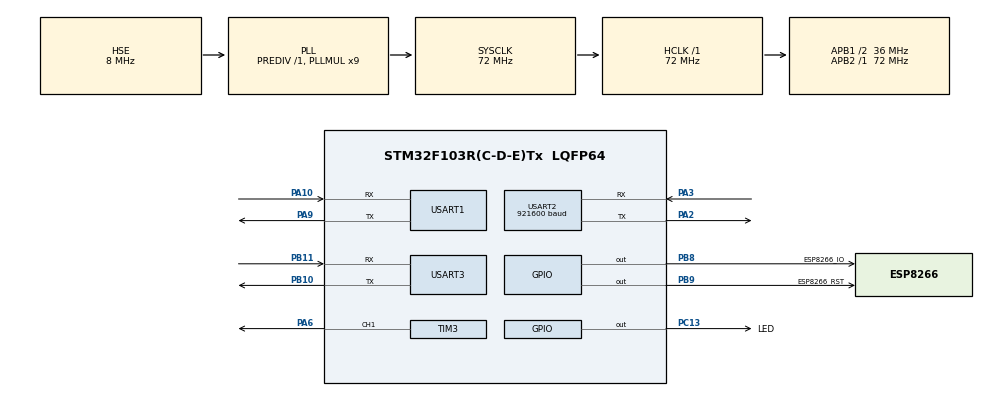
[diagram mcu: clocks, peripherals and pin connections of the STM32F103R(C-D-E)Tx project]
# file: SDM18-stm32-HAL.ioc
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Dma.Request0=USART3_RX
Dma.USART3_RX.0.Direction=DMA_PERIPH_TO_MEMORY
Dma.USART3_RX.0.Instance=DMA1_Channel3
Dma.USART3_RX.0.MemDataAlignment=DMA_MDATAALIGN_BYTE
Dma.USART3_RX.0.MemInc=DMA_MINC_ENABLE
Dma.USART3_RX.0.Mode=DMA_NORMAL
Dma.USART3_RX.0.PeriphDataAlignment=DMA_PDATAALIGN_BYTE
Dma.USART3_RX.0.PeriphInc=DMA_PINC_DISABLE
Dma.USART3_RX.0.Priority=DMA_PRIORITY_LOW
Mcu.Family=STM32F1
Mcu.Name=STM32F103R(C-D-E)Tx
Mcu.Package=LQFP64
NVIC.DMA1_Channel3_IRQn=true\:0\:0\:false\:false\:true\:false\:true\:true
NVIC.PriorityGroup=NVIC_PRIORITYGROUP_2
NVIC.USART2_IRQn=true\:1\:0\:true\:false\:true\:true\:true\:true
NVIC.USART3_IRQn=true\:1\:0\:true\:false\:true\:true\:true\:true
PA10.Mode=Asynchronous
PA10.Signal=USART1_RX
PA13.Mode=Serial_Wire
PA13.Signal=SYS_JTMS-SWDIO
PA14.Mode=Serial_Wire
PA14.Signal=SYS_JTCK-SWCLK
PA2.Mode=Asynchronous
PA2.Signal=USART2_TX
PA3.Mode=Asynchronous
PA3.Signal=USART2_RX
PA6.Signal=S_TIM3_CH1
PA9.Mode=Asynchronous
PA9.Signal=USART1_TX
PB10.Mode=Asynchronous
PB10.Signal=USART3_TX
PB11.Mode=Asynchronous
PB11.Signal=USART3_RX
PB8.GPIO_Label=ESP8266_IO
PB8.PinState=GPIO_PIN_SET
PB8.Signal=GPIO_Output
PB9.GPIO_Label=ESP8266_RST
PB9.PinState=GPIO_PIN_SET
PB9.Signal=GPIO_Output
PC13-TAMPER-RTC.GPIO_Label=LED
PC13-TAMPER-RTC.GPIO_Speed=GPIO_SPEED_FREQ_MEDIUM
PC13-TAMPER-RTC.PinState=GPIO_PIN_SET
PC13-TAMPER-RTC.Signal=GPIO_Output
PD0-OSC_IN.Mode=HSE-External-Oscillator
PD0-OSC_IN.Signal=RCC_OSC_IN
PD1-OSC_OUT.Mode=HSE-External-Oscillator
PD1-OSC_OUT.Signal=RCC_OSC_OUT
ProjectManager.HeapSize=0x200
ProjectManager.StackSize=0x400
ProjectManager.TargetToolchain=MDK-ARM V5.32
RCC.AHBFreq_Value=72000000
RCC.APB1CLKDivider=RCC_HCLK_DIV2
RCC.APB1Freq_Value=36000000
RCC.APB1TimFreq_Value=72000000
RCC.APB2Freq_Value=72000000
RCC.APB2TimFreq_Value=72000000
RCC.HCLKFreq_Value=72000000
RCC.PLLMUL=RCC_PLL_MUL9
RCC.PLLSourceVirtual=RCC_PLLSOURCE_HSE
RCC.SYSCLKFreq_VALUE=72000000
RCC.SYSCLKSource=RCC_SYSCLKSOURCE_PLLCLK
RCC.USBFreq_Value=72000000
SH.S_TIM3_CH1.0=TIM3_CH1,PWM Generation1 CH1
TIM3.AutoReloadPreload=TIM_AUTORELOAD_PRELOAD_ENABLE
TIM3.Channel-PWM\ Generation1\ CH1=TIM_CHANNEL_1
TIM3.Period=500
TIM3.Prescaler=71
TIM3.Pulse-PWM\ Generation1\ CH1=250
USART1.VirtualMode=VM_ASYNC
USART2.BaudRate=921600
USART2.VirtualMode=VM_ASYNC
USART3.VirtualMode=VM_ASYNC
board=custom

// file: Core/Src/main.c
/* USER CODE BEGIN Header */
/**
  ******************************************************************************
  * @file           : main.c
  * @brief          : 新型钻具机构控制系统 - 稳定生产版
  *                   - 激光雷达测距控制内管升降
  *                   - 内管到位400mm停止
  *                   - 到位后才开始卡芯/满芯判断
  *                   - 卡芯/满芯时反转上提到800mm
  *                   - WiFi无线数据传输（ESP8266）
  *                   - 支持远程参数修改
  *                   - 支持手动控制
  *                   - 自动重连机制
  ******************************************************************************
  */
/* USER CODE END Header */
#include "main.h"
#include "dma.h"
#include "tim.h"
#include "usart.h"
#include "gpio.h"

/* USER CODE BEGIN Includes */
#include <stdbool.h>
#include <stdio.h>
#include <string.h>
#include <stdlib.h>
/* USER CODE END Includes */

/* USER CODE BEGIN PD */
// 电机引脚定义
#define MOTOR_EN_PIN   GPIO_PIN_5      // 使能引脚
#define MOTOR_STP_PIN  GPIO_PIN_6      // 脉冲引脚
#define MOTOR_DIR_PIN  GPIO_PIN_7      // 方向引脚
#define MOTOR_PORT     GPIOA

// 钻具工作模式
#define MODE_IDLE       0    // 空闲
#define MODE_DOWN       1    // 正转下钻
#define MODE_UP         2    // 反转上提
#define MODE_PAUSE      3    // 暂停

// 默认阈值定义（单位：mm）
#define DEFAULT_THRESHOLD_GROUND    800     // 默认地面阈值
#define DEFAULT_THRESHOLD_IN_PLACE  400     // 默认内管到位阈值
#define DEFAULT_THRESHOLD_FULL      100     // 满芯阈值
#define DEFAULT_THRESHOLD_STUCK     2       // 卡芯差值阈值

// 数组大小定义
#define DIST_ARRAY_SIZE     10      // 10个相邻测距的数组

// 时间定义（单位：ms）
#define MEASURE_INTERVAL        100     // 100ms测一次距离
#define PAUSE_TIME_IN_PLACE     5000    // 内管到位暂停时间（5秒）
#define PAUSE_TIME_CORE         3000    // 卡芯/满芯暂停时间（3秒）
#define DEFAULT_MOTOR_SPEED     100    // 默认电机速度
#define WIFI_RECONNECT_INTERVAL 30000   // WiFi重连间隔（30秒）

// ==================== WiFi配置（请修改为你的网络） ====================
#define WIFI_UART_HANDLE      &huart3      // USART3连接WiFi
#define WIFI_RST_PIN          GPIO_PIN_9   // WiFi复位引脚（PB9）
#define WIFI_RST_PORT         GPIOB
#define WIFI_IO_PIN           GPIO_PIN_8   // IO引脚（PB8），悬空

// WiFi连接参数（请修改成你自己的）
#include "wifi_config.h"
/* USER CODE END PD */

/* USER CODE BEGIN PV */
// 电机控制变量
__IO int32_t pulse_count = 0;
__IO uint8_t motor_status = MODE_IDLE;

// 可修改的参数
__IO uint16_t threshold_ground = DEFAULT_THRESHOLD_GROUND;
__IO uint16_t threshold_in_place = DEFAULT_THRESHOLD_IN_PLACE;
__IO uint16_t threshold_full = DEFAULT_THRESHOLD_FULL;
__IO uint16_t threshold_stuck = DEFAULT_THRESHOLD_STUCK;
__IO uint16_t motor_speed = DEFAULT_MOTOR_SPEED;

// 手动控制标志
__IO uint8_t manual_control = 0;
__IO uint8_t manual_cmd = 0;

// 钻具控制变量
__IO uint8_t drill_mode = MODE_IDLE;
__IO uint32_t pause_start_time = 0;
__IO uint8_t is_reversing = 0;
__IO uint8_t is_in_place = 0;

// 测距数组
__IO uint16_t dist_array[DIST_ARRAY_SIZE] = {0};
__IO uint8_t dist_array_index = 0;
__IO uint8_t dist_array_full = 0;

// 传感器距离
extern uint16_t gSDM18_Distance;

// WiFi状态
__IO uint8_t wifi_connected = 0;
__IO uint32_t last_wifi_check = 0;

// 指令接收缓冲区
uint8_t cmd_buffer[256];
uint8_t cmd_index = 0;
uint8_t rx_byte = 0;
volatile uint8_t cmd_ready = 0;
/* USER CODE END PV */

void SystemClock_Config(void);
/* USER CODE BEGIN PFP */
// 电机控制
void Motor_GPIO_Init(void);
void Motor_Set_Direction(uint8_t dir);
void Motor_Generate_Pulse(void);
void Drill_Control(uint16_t dist);
void Update_Distance_Array(uint16_t dist);
uint8_t Check_Stuck(void);
uint8_t Check_Full(void);
void Print_Status(uint16_t dist);

// WiFi功能
void WiFi_GPIO_Init(void);
void WiFi_Reset(void);
uint8_t WiFi_SendAT(const char* cmd, const char* expected, uint32_t timeout);
void WiFi_Connect(void);
void WiFi_SendData(uint8_t* data, uint16_t len);
void WiFi_SendStatus(uint16_t dist, uint8_t mode, uint8_t in_place, uint8_t reversing,
                      uint16_t avg, uint16_t diff);
void WiFi_CheckAndReconnect(void);
void Parse_Command(char* cmd);
/* USER CODE END PFP */

int main(void)
{
  HAL_Init();
  SystemClock_Config();
  MX_GPIO_Init();
  MX_DMA_Init();
  MX_USART1_UART_Init();
  MX_USART2_UART_Init();
  MX_TIM3_Init();
  MX_USART3_UART_Init();

  /* USER CODE BEGIN 2 */
  // 系统初始化
  BSP_init();
  Motor_GPIO_Init();
  WiFi_GPIO_Init();

  // 清空距离数组
  memset((void*)dist_array, 0, sizeof(dist_array));

  // 打印启动信息
  printf("\r\n\r\n");
  printf("========================================\r\n");
  printf("    新型钻具机构控制系统 - 稳定版      \r\n");
  printf("========================================\r\n");
  printf("系统启动中...\r\n");

  // 尝试连接WiFi
  WiFi_Reset();
  HAL_Delay(1000);
  WiFi_Connect();
  last_wifi_check = HAL_GetTick();

  if(wifi_connected)
  {
      printf("✓ WiFi连接成功！\r\n");
      printf("  服务器: %s:%s\r\n", SERVER_IP, SERVER_PORT);
      // 启动指令接收
      HAL_UART_Receive_IT(&huart3, &rx_byte, 1);
  }
  else
  {
      printf("✗ WiFi连接失败，系统将独立运行\r\n");
      printf("  如需WiFi请检查网络设置后按复位键\r\n");
  }

  // 显示当前配置
  printf("\r\n当前配置：\r\n");
  printf("  内管到位阈值: %dmm\r\n", threshold_in_place);
  printf("  地面阈值: %dmm\r\n", threshold_ground);
  printf("  满芯阈值: %dmm\r\n", threshold_full);
  printf("  卡芯差值: %dmm\r\n", threshold_stuck);
  printf("  电机速度: %d\r\n", motor_speed);
  printf("========================================\r\n\r\n");
  /* USER CODE END 2 */

  /* Infinite loop */
  /* USER CODE BEGIN WHILE */
  while (1)
  {
    BSP_Loop();  // 处理传感器数据
    Motor_Generate_Pulse();

    // 处理接收到的指令
    if(cmd_ready)
    {
        cmd_ready = 0;
        Parse_Command((char*)cmd_buffer);
    }

    // WiFi自动重连（每30秒检查一次）
    WiFi_CheckAndReconnect();

    // 每100ms执行控制逻辑
    static uint32_t last_control = 0;
    if(HAL_GetTick() - last_control >= MEASURE_INTERVAL)
    {
        last_control = HAL_GetTick();
        uint16_t current_dist = gSDM18_Distance;
        Update_Distance_Array(current_dist);
        Drill_Control(current_dist);
        Print_Status(current_dist);
    }

    /* USER CODE END WHILE */
  }
}

void SystemClock_Config(void)
{
  RCC_OscInitTypeDef RCC_OscInitStruct = {0};
  RCC_ClkInitTypeDef RCC_ClkInitStruct = {0};

  RCC_OscInitStruct.OscillatorType = RCC_OSCILLATORTYPE_HSE;
  RCC_OscInitStruct.HSEState = RCC_HSE_ON;
  RCC_OscInitStruct.HSEPredivValue = RCC_HSE_PREDIV_DIV1;
  RCC_OscInitStruct.HSIState = RCC_HSI_ON;
  RCC_OscInitStruct.PLL.PLLState = RCC_PLL_ON;
  RCC_OscInitStruct.PLL.PLLSource = RCC_PLLSOURCE_HSE;
  RCC_OscInitStruct.PLL.PLLMUL = RCC_PLL_MUL9;
  if (HAL_RCC_OscConfig(&RCC_OscInitStruct) != HAL_OK)
  {
    Error_Handler();
  }

  RCC_ClkInitStruct.ClockType = RCC_CLOCKTYPE_HCLK|RCC_CLOCKTYPE_SYSCLK
                              |RCC_CLOCKTYPE_PCLK1|RCC_CLOCKTYPE_PCLK2;
  RCC_ClkInitStruct.SYSCLKSource = RCC_SYSCLKSOURCE_PLLCLK;
  RCC_ClkInitStruct.AHBCLKDivider = RCC_SYSCLK_DIV1;
  RCC_ClkInitStruct.APB1CLKDivider = RCC_HCLK_DIV2;
  RCC_ClkInitStruct.APB2CLKDivider = RCC_HCLK_DIV1;

  if (HAL_RCC_ClockConfig(&RCC_ClkInitStruct, FLASH_LATENCY_2) != HAL_OK)
  {
    Error_Handler();
  }
}

/* USER CODE BEGIN 4 */

// ==================== 电机控制函数 ====================

void Motor_GPIO_Init(void)
{
    __HAL_RCC_GPIOA_CLK_ENABLE();

    GPIO_InitTypeDef GPIO_InitStruct = {0};
    GPIO_InitStruct.Pin = MOTOR_EN_PIN | MOTOR_STP_PIN | MOTOR_DIR_PIN;
    GPIO_InitStruct.Mode = GPIO_MODE_OUTPUT_PP;
    GPIO_InitStruct.Pull = GPIO_NOPULL;
    GPIO_InitStruct.Speed = GPIO_SPEED_FREQ_LOW;
    HAL_GPIO_Init(MOTOR_PORT, &GPIO_InitStruct);

    HAL_GPIO_WritePin(MOTOR_PORT, MOTOR_EN_PIN, GPIO_PIN_SET);
    HAL_GPIO_WritePin(MOTOR_PORT, MOTOR_STP_PIN, GPIO_PIN_RESET);
    HAL_GPIO_WritePin(MOTOR_PORT, MOTOR_DIR_PIN, GPIO_PIN_RESET);
}

void Motor_Set_Direction(uint8_t dir)
{
    if(dir == MODE_DOWN)
        HAL_GPIO_WritePin(MOTOR_PORT, MOTOR_DIR_PIN, GPIO_PIN_SET);
    else if(dir == MODE_UP)
        HAL_GPIO_WritePin(MOTOR_PORT, MOTOR_DIR_PIN, GPIO_PIN_RESET);
}

void Motor_Generate_Pulse(void)
{
    if(motor_status != MODE_DOWN && motor_status != MODE_UP)
        return;

    for(volatile int i = 0; i < motor_speed; i++)
        __NOP();

    HAL_GPIO_TogglePin(MOTOR_PORT, MOTOR_STP_PIN);
    pulse_count++;
}

// ==================== 距离检测函数 ====================

void Update_Distance_Array(uint16_t dist)
{
    dist_array[dist_array_index] = dist;
    dist_array_index++;
    if(dist_array_index >= DIST_ARRAY_SIZE)
    {
        dist_array_index = 0;
        dist_array_full = 1;
    }
}

uint8_t Check_Stuck(void)
{
    if(!dist_array_full) return 0;

    uint16_t max_dist = 0, min_dist = 65535;
    for(int i = 0; i < DIST_ARRAY_SIZE; i++)
    {
        if(dist_array[i] > max_dist) max_dist = dist_array[i];
        if(dist_array[i] < min_dist) min_dist = dist_array[i];
    }

    return ((max_dist - min_dist) < threshold_stuck) ? 1 : 0;
}

uint8_t Check_Full(void)
{
    if(!dist_array_full) return 0;

    for(int i = 0; i < DIST_ARRAY_SIZE; i++)
    {
        if(dist_array[i] >= threshold_full) return 0;
    }
    return 1;
}

// ==================== 钻具控制主逻辑 ====================

void Drill_Control(uint16_t dist)
{
    if(dist == 0) return;

    // 手动模式
    if(manual_control == 1)
    {
        if(manual_cmd == 1 && motor_status != MODE_DOWN)
        {
            motor_status = MODE_DOWN;
            drill_mode = MODE_DOWN;
            is_reversing = 0;
            is_in_place = 0;
            Motor_Set_Direction(MODE_DOWN);
            printf("手动: 下钻\r\n");
            WiFi_SendData((uint8_t*)"!!! MANUAL: DRILLING START !!!\r\n", 35);
        }
        else if(manual_cmd == 2 && motor_status != MODE_UP)
        {
            motor_status = MODE_UP;
            drill_mode = MODE_UP;
            is_reversing = 1;
            is_in_place = 0;
            Motor_Set_Direction(MODE_UP);
            printf("手动: 上提\r\n");
            WiFi_SendData((uint8_t*)"!!! MANUAL: REVERSING START !!!\r\n", 35);
        }
        else if(manual_cmd == 3 && motor_status != MODE_IDLE)
        {
            motor_status = MODE_IDLE;
            drill_mode = MODE_IDLE;
            is_reversing = 0;
            is_in_place = 0;
            HAL_GPIO_WritePin(MOTOR_PORT, MOTOR_STP_PIN, GPIO_PIN_RESET);
            printf("手动: 急停\r\n");
            WiFi_SendData((uint8_t*)"!!! EMERGENCY STOP !!!\r\n", 25);
        }
        return;
    }

    // 自动模式
    if(drill_mode == MODE_PAUSE)
    {
        if(HAL_GetTick() - pause_start_time >= PAUSE_TIME_CORE)
        {
            drill_mode = MODE_UP;
            motor_status = MODE_UP;
            is_reversing = 1;
            is_in_place = 0;
            Motor_Set_Direction(MODE_UP);
            printf("⬆️ 暂停结束，反转上提（目标%dmm）\r\n", threshold_ground);
            WiFi_SendData((uint8_t*)"!!! ACTION: REVERSING START !!!\r\n", 35);
        }
        return;
    }

    if(dist >= threshold_ground)
    {
        if(drill_mode != MODE_IDLE || is_reversing != 0)
        {
            drill_mode = MODE_IDLE;
            motor_status = MODE_IDLE;
            is_reversing = 0;
            is_in_place = 0;
            printf("🏁 到达地面阈值 %dmm，停止\r\n", threshold_ground);
            WiFi_SendData((uint8_t*)"!!! STATUS: AT GROUND !!!\r\n", 29);
        }
        return;
    }

    if(is_reversing == 1)
    {
        if(drill_mode != MODE_UP)
        {
            drill_mode = MODE_UP;
            motor_status = MODE_UP;
            Motor_Set_Direction(MODE_UP);
        }
        return;
    }

    if(dist <= threshold_in_place)
    {
        if(drill_mode != MODE_IDLE)
        {
            drill_mode = MODE_IDLE;
            motor_status = MODE_IDLE;
            printf("⏹️ 内管到位 %dmm，停止\r\n", dist);
            char alert[64];
            sprintf(alert, "*** STATUS: IN_PLACE (dist=%dmm) ***\r\n", dist);
            WiFi_SendData((uint8_t*)alert, strlen(alert));
        }

        if(is_in_place == 0)
        {
            is_in_place = 1;
            printf("🔍 开始卡芯/满芯监测...\r\n");
            uint32_t pause_start = HAL_GetTick();
            while(HAL_GetTick() - pause_start < PAUSE_TIME_IN_PLACE)
                HAL_Delay(10);
        }

        if(is_in_place == 1)
        {
            if(Check_Full())
            {
                drill_mode = MODE_PAUSE;
                motor_status = MODE_IDLE;
                pause_start_time = HAL_GetTick();
                printf("⏸️ 满芯！暂停3秒后反转上提\r\n");
                WiFi_SendData((uint8_t*)"!!! ALERT: CORE FULL !!!\r\n", 28);
                return;
            }
            if(Check_Stuck())
            {
                drill_mode = MODE_PAUSE;
                motor_status = MODE_IDLE;
                pause_start_time = HAL_GetTick();
                printf("⚠️ 卡芯！暂停3秒后反转上提\r\n");
                WiFi_SendData((uint8_t*)"!!! ALERT: CORE STUCK !!!\r\n", 28);
                return;
            }
        }
        return;
    }

    if(dist > threshold_in_place && drill_mode != MODE_DOWN)
    {
        drill_mode = MODE_DOWN;
        motor_status = MODE_DOWN;
        is_in_place = 0;
        Motor_Set_Direction(MODE_DOWN);
        printf("⬇️ 距离=%dmm > %dmm，正转下钻\r\n", dist, threshold_in_place);
    }
}

// ==================== 指令解析 ====================

void Parse_Command(char* cmd)
{
    if(strlen(cmd) > 100) return;
    printf("收到指令: %s\r\n", cmd);

    if(strstr(cmd, "SET_IN_PLACE|") != NULL)
    {
        uint16_t val = atoi(cmd + 13);
        if(val >= 100 && val <= 1000)
        {
            threshold_in_place = val;
            printf("内管到位阈值已修改为: %dmm\r\n", threshold_in_place);
            WiFi_SendData((uint8_t*)"OK|IN_PLACE_CHANGED\r\n", 23);
        }
        else WiFi_SendData((uint8_t*)"ERROR|INVALID_VALUE\r\n", 22);
        return;
    }

    if(strstr(cmd, "SET_GROUND|") != NULL)
    {
        uint16_t val = atoi(cmd + 11);
        if(val >= 500 && val <= 1500)
        {
            threshold_ground = val;
            printf("地面阈值已修改为: %dmm\r\n", threshold_ground);
            WiFi_SendData((uint8_t*)"OK|GROUND_CHANGED\r\n", 22);
        }
        else WiFi_SendData((uint8_t*)"ERROR|INVALID_VALUE\r\n", 22);
        return;
    }

    if(strstr(cmd, "SET_FULL|") != NULL)
    {
        uint16_t val = atoi(cmd + 9);
        if(val >= 20 && val <= 200)
        {
            threshold_full = val;
            printf("满芯阈值已修改为: %dmm\r\n", threshold_full);
            WiFi_SendData((uint8_t*)"OK|FULL_CHANGED\r\n", 20);
        }
        else WiFi_SendData((uint8_t*)"ERROR|INVALID_VALUE\r\n", 22);
        return;
    }

    if(strstr(cmd, "SET_STUCK|") != NULL)
    {
        uint16_t val = atoi(cmd + 10);
        if(val >= 1 && val <= 50)
        {
            threshold_stuck = val;
            printf("卡芯差值阈值已修改为: %dmm\r\n", threshold_stuck);
            WiFi_SendData((uint8_t*)"OK|STUCK_CHANGED\r\n", 21);
        }
        else WiFi_SendData((uint8_t*)"ERROR|INVALID_VALUE\r\n", 22);
        return;
    }

    if(strstr(cmd, "SET_SPEED|") != NULL)
    {
        uint16_t val = atoi(cmd + 10);
        if(val >= 100 && val <= 5000)
        {
            motor_speed = val;
            printf("电机速度已修改: 延时=%d\r\n", motor_speed);
            WiFi_SendData((uint8_t*)"OK|SPEED_CHANGED\r\n", 21);
        }
        else WiFi_SendData((uint8_t*)"ERROR|INVALID_VALUE\r\n", 22);
        return;
    }

    if(strstr(cmd, "GET_PARAMS") != NULL)
    {
        char buffer[128];
        sprintf(buffer, "PARAMS|IN_PLACE=%d|GROUND=%d|FULL=%d|STUCK=%d|SPEED=%d\r\n",
                threshold_in_place, threshold_ground, threshold_full, threshold_stuck, motor_speed);
        WiFi_SendData((uint8_t*)buffer, strlen(buffer));
        return;
    }

    if(strstr(cmd, "CMD_DOWN") != NULL)
    {
        manual_control = 1;
        manual_cmd = 1;
        printf("手动下钻模式\r\n");
        WiFi_SendData((uint8_t*)"OK|MANUAL_DOWN\r\n", 18);
        return;
    }

    if(strstr(cmd, "CMD_UP") != NULL)
    {
        manual_control = 1;
        manual_cmd = 2;
        printf("手动上提模式\r\n");
        WiFi_SendData((uint8_t*)"OK|MANUAL_UP\r\n", 16);
        return;
    }

    if(strstr(cmd, "CMD_STOP") != NULL)
    {
        manual_control = 1;
        manual_cmd = 3;
        printf("急停！\r\n");
        WiFi_SendData((uint8_t*)"OK|EMERGENCY_STOP\r\n", 21);
        return;
    }

    if(strstr(cmd, "CMD_RESET") != NULL)
    {
        manual_control = 0;
        manual_cmd = 0;
        motor_status = MODE_IDLE;
        drill_mode = MODE_IDLE;
        is_reversing = 0;
        is_in_place = 0;
        HAL_GPIO_WritePin(MOTOR_PORT, MOTOR_STP_PIN, GPIO_PIN_RESET);
        printf("复位到自动模式\r\n");
        WiFi_SendData((uint8_t*)"OK|RESET_TO_AUTO\r\n", 20);
        return;
    }

    WiFi_SendData((uint8_t*)"ERROR|UNKNOWN_CMD\r\n", 20);
}

// ==================== WiFi模块函数 ====================

void WiFi_GPIO_Init(void)
{
    GPIO_InitTypeDef GPIO_InitStruct = {0};
    __HAL_RCC_GPIOB_CLK_ENABLE();

    GPIO_InitStruct.Pin = WIFI_RST_PIN;
    GPIO_InitStruct.Mode = GPIO_MODE_OUTPUT_PP;
    GPIO_InitStruct.Pull = GPIO_NOPULL;
    HAL_GPIO_Init(WIFI_RST_PORT, &GPIO_InitStruct);

    GPIO_InitStruct.Pin = WIFI_IO_PIN;
    GPIO_InitStruct.Mode = GPIO_MODE_INPUT;
    HAL_GPIO_Init(WIFI_RST_PORT, &GPIO_InitStruct);
}

void WiFi_Reset(void)
{
    HAL_GPIO_WritePin(WIFI_RST_PORT, WIFI_RST_PIN, GPIO_PIN_RESET);
    HAL_Delay(100);
    HAL_GPIO_WritePin(WIFI_RST_PORT, WIFI_RST_PIN, GPIO_PIN_SET);
    HAL_Delay(2000);
}

uint8_t WiFi_SendAT(const char* cmd, const char* expected, uint32_t timeout)
{
    uint8_t buffer[128];
    uint32_t start = HAL_GetTick();
    uint16_t index = 0;

    HAL_UART_Transmit(WIFI_UART_HANDLE, (uint8_t*)cmd, strlen(cmd), 100);
    HAL_UART_Transmit(WIFI_UART_HANDLE, (uint8_t*)"\r\n", 2, 100);

    while(HAL_GetTick() - start < timeout)
    {
        if(HAL_UART_Receive(WIFI_UART_HANDLE, &buffer[index], 1, 50) == HAL_OK)
        {
            if(index < sizeof(buffer)-1)
            {
                index++;
                buffer[index] = 0;
                if(strstr((char*)buffer, expected) != NULL)
                    return 1;
            }
        }
    }
    return 0;
}

void WiFi_Connect(void)
{
    char cmd[128];

    printf("WiFi连接中...\r\n");

    // 退出透传模式
    HAL_UART_Transmit(WIFI_UART_HANDLE, (uint8_t*)"+++", 3, 100);
    HAL_Delay(500);

    // 测试AT
    if(!WiFi_SendAT("AT", "OK", 2000))
    {
        printf("WiFi模块无响应\r\n");
        wifi_connected = 0;
        return;
    }

    // 设置STA模式
    WiFi_SendAT("AT+CWMODE=1", "OK", 2000);

    // 连接WiFi
    sprintf(cmd, "AT+CWJAP=\"%s\",\"%s\"", WIFI_SSID, WIFI_PASSWORD);
    if(!WiFi_SendAT(cmd, "OK", 10000))
    {
        printf("WiFi连接失败\r\n");
        wifi_connected = 0;
        return;
    }
    printf("WiFi已连接\r\n");
    HAL_Delay(2000);

    // 连接TCP服务器
    sprintf(cmd, "AT+CIPSTART=\"TCP\",\"%s\",%s", SERVER_IP, SERVER_PORT);
    if(!WiFi_SendAT(cmd, "CONNECT", 5000))
    {
        printf("TCP连接失败\r\n");
        wifi_connected = 0;
        return;
    }
    printf("TCP已连接\r\n");
    HAL_Delay(500);

    // 开启透传
    WiFi_SendAT("AT+CIPMODE=1", "OK", 2000);
    WiFi_SendAT("AT+CIPSEND", ">", 2000);

    wifi_connected = 1;
    printf("✓ WiFi透传模式已开启\r\n");
}

void WiFi_CheckAndReconnect(void)
{
    if(HAL_GetTick() - last_wifi_check >= WIFI_RECONNECT_INTERVAL)
    {
        last_wifi_check = HAL_GetTick();

        if(!wifi_connected)
        {
            printf("WiFi断开，尝试重连...\r\n");
            WiFi_Connect();
            if(wifi_connected)
                HAL_UART_Receive_IT(&huart3, &rx_byte, 1);
        }
    }
}

void WiFi_SendData(uint8_t* data, uint16_t len)
{
    if(wifi_connected)
        HAL_UART_Transmit(WIFI_UART_HANDLE, data, len, 100);
}

void WiFi_SendStatus(uint16_t dist, uint8_t mode, uint8_t in_place, uint8_t reversing,
                      uint16_t avg, uint16_t diff)
{
    char buffer[256];
    char *mode_str = "", *status_str = "";

    switch(mode)
    {
        case MODE_IDLE:   mode_str = "IDLE"; break;
        case MODE_DOWN:   mode_str = "DOWN"; break;
        case MODE_UP:     mode_str = "UP"; break;
        case MODE_PAUSE:  mode_str = "PAUSE"; break;
        default:          mode_str = "UNKNOWN"; break;
    }

    if(in_place) status_str = "IN_PLACE";
    else if(reversing) status_str = "REVERSING";
    else if(mode == MODE_DOWN) status_str = "DRILLING";
    else if(mode == MODE_IDLE) status_str = "WAITING";
    else if(mode == MODE_PAUSE) status_str = "PAUSING";
    else status_str = "NORMAL";

    sprintf(buffer, "DATA|%d|%d|%s|%s|%d|%d|%d|%d|%d|%d|%d\r\n",
            (int)(HAL_GetTick()/1000), dist, mode_str, status_str,
            in_place, reversing, avg, diff,
            threshold_in_place, threshold_ground, motor_speed);

    WiFi_SendData((uint8_t*)buffer, strlen(buffer));
}

void Print_Status(uint16_t dist)
{
    static uint32_t last_print = 0;

    if(HAL_GetTick() - last_print >= MEASURE_INTERVAL)
    {
        last_print = HAL_GetTick();

        uint16_t max_d = 0, min_d = 65535;
        uint32_t sum_d = 0;

        for(int i = 0; i < DIST_ARRAY_SIZE; i++)
        {
            if(dist_array[i] > max_d) max_d = dist_array[i];
            if(dist_array[i] < min_d) min_d = dist_array[i];
            sum_d += dist_array[i];
        }

        uint16_t avg_d = dist_array_full ? (sum_d / DIST_ARRAY_SIZE) : 0;

        char *mode_str = "";
        switch(drill_mode)
        {
            case MODE_IDLE:   mode_str = "空闲"; break;
            case MODE_DOWN:   mode_str = "下钻"; break;
            case MODE_UP:     mode_str = "上提"; break;
            case MODE_PAUSE:  mode_str = "暂停"; break;
        }

        printf("[%03d] dist=%4dmm | %s |到位=%d|rev=%d| avg=%3dmm| diff=%2dmm\r\n",
               (HAL_GetTick()/1000)%1000, dist, mode_str, is_in_place,
               is_reversing, avg_d, max_d - min_d);

        WiFi_SendStatus(dist, drill_mode, is_in_place, is_reversing, avg_d, max_d - min_d);
    }
}

void HAL_UART_RxCpltCallback(UART_HandleTypeDef *huart)
{
    if(huart->Instance == USART3)
    {
        if(rx_byte == '\n' || cmd_index >= 255)
        {
            if(cmd_index > 0)
            {
                cmd_buffer[cmd_index] = 0;
                cmd_ready = 1;
                cmd_index = 0;
            }
        }
        else if(rx_byte != '\r')
        {
            cmd_buffer[cmd_index++] = rx_byte;
        }
        HAL_UART_Receive_IT(&huart3, &rx_byte, 1);
    }
}
/* USER CODE END 4 */

void Error_Handler(void)
{
  __disable_irq();
  while (1) {}
}
